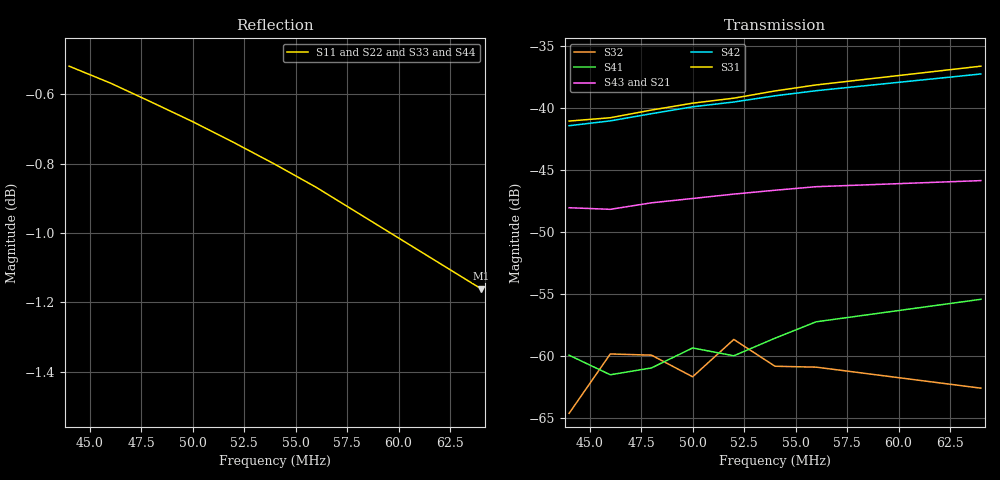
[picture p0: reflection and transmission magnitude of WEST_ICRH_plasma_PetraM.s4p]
!Created with skrf (http://scikit-rf.org).
# MHz S RI R 46.6
!freq ReS11 ImS11 ReS12 ImS12 ReS13 ImS13
! ReS14 ImS14
! ReS21 ImS21 ReS22 ImS22 ReS23 ImS23
! ReS24 ImS24
! ReS31 ImS31 ReS32 ImS32 ReS33 ImS33
! ReS34 ImS34
! ReS41 ImS41 ReS42 ImS42 ReS43 ImS43
! ReS44 ImS44
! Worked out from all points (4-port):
!   8 points, 44 MHz to 64 MHz, reference 46.6 ohm
!   strongest paths, dB at 44 MHz, 48 MHz, 52 MHz, 56 MHz, 64 MHz:
!     S31: -41.0, -40.1, -39.2, -38.1, -36.6
!     S42: -41.4, -40.4, -39.5, -38.6, -37.2
!     S43: -48.0, -47.6, -46.9, -46.3, -45.8
!     S21: -48.1, -47.7, -47.1, -46.3, -45.7
!     S41: -59.9, -61.0, -60.0, -57.2, -55.4
!     S32: -64.6, -59.9, -58.7, -60.9, -62.6
!   lowest |S11| = -1.2 dB at 64 MHz (marker M1), VSWR 14.99, Z = 3.88 + j23.2 ohm
!   |S11| at or under -10 dB: nowhere
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44  0.1031 0.9363  -0.00331 0.00121  -0.00901 0.00103  0.00112 -0.000469
    -0.00388 0.000612  0.0994 0.9372  3.31e-05 -0.000288  -0.00865 0.000525
    -0.00881 0.00109  -0.000272 -0.00052  0.1003 0.9364  -0.00338 0.00122
    0.000997 -0.000145  -0.00848 0.000586  -0.00393 0.000558  0.102 0.937
46  0.0355 0.936  -0.00335 0.000585  -0.00936 1.95e-05  0.000695 -2.66e-05
    -0.0039 0.00022  0.0318 0.9365  -0.000472 -6.74e-05  -0.00904 -0.000387
    -0.00915 0.000148  -0.001 -0.000175  0.0326 0.9359  -0.00338 0.000576
    0.000837 7.12e-05  -0.00888 -0.000301  -0.0039 0.000213  0.0344 0.9366
48  -0.0321 0.9302  -0.00364 0.00046  -0.01 -0.000632  0.000854 -0.000249
    -0.00413 -6.53e-05  -0.036 0.9306  -0.00036 -0.000311  -0.0096 -0.00109
    -0.00982 -0.000507  -0.000783 -0.000635  -0.0349 0.9299  -0.00368 0.000478
    0.000895 -1.79e-05  -0.00945 -0.001  -0.00415 -4.91e-05  -0.0333 0.9307
50  -0.0992 0.9194  -0.00381 -2.59e-05  -0.0106 -0.00178  0.00102 9.49e-05
    -0.00425 -0.000488  -0.1034 0.9195  -0.000323 -0.000172  -0.0101 -0.00219
    -0.0104 -0.00159  -0.000738 -0.000367  -0.1023 0.919  -0.00387 -2.51e-05
    0.00107 0.000164  -0.00992 -0.00206  -0.0043 -0.000486  -0.1006 0.9199
52  -0.1658 0.9033  -0.00388 -0.000208  -0.0108 -0.00269  0.000857 3.4e-05
    -0.00436 -0.000829  -0.1701 0.903  -0.000387 -0.000327  -0.0103 -0.00316
    -0.0107 -0.00251  -0.000871 -0.000775  -0.1688 0.9025  -0.00397 -0.000217
    0.000966 0.000267  -0.0101 -0.00304  -0.00442 -0.000872  -0.1673 0.9037
54  -0.2311 0.882  -0.00409 -0.00062  -0.0113 -0.00381  0.00121 3.08e-05
    -0.00444 -0.00126  -0.2355 0.8814  -0.000231 -0.000354  -0.0106 -0.00427
    -0.0112 -0.00361  -0.00047 -0.000778  -0.234 0.8811  -0.00423 -0.000708
    0.00115 0.000243  -0.0104 -0.00412  -0.00447 -0.00134  -0.2327 0.8822
64  -0.5252 0.6998  -0.00394 -0.00293  -0.0104 -0.011  0.000849 0.00103
    -0.00374 -0.00359  -0.5291 0.697  -0.000266 9.48e-05  -0.00939 -0.0105
    -0.0104 -0.0105  -0.000512 -0.000537  -0.5279 0.6976  -0.00361 -0.00298
    0.00098 0.00138  -0.00928 -0.0101  -0.00359 -0.00363  -0.5271 0.6986
